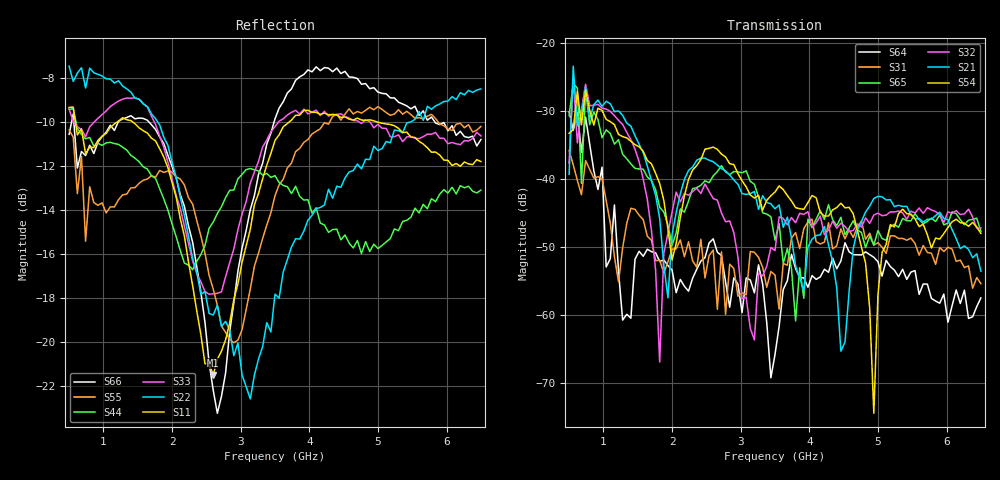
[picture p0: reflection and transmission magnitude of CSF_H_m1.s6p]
!Keysight Technologies,M9804A,MY58100912,A.14.10.03
!Date: Thursday, April 27, 2023 10:28:33
!Correction: S11(C  6-Port  )
!S12(C  6-Port  )
!S13(C  6-Port  )
!S14(C  6-Port  )
!S15(C  6-Port  )
!S16(C  6-Port  )
!S21(C  6-Port  )
!S22(C  6-Port  )
!S23(C  6-Port  )
!S24(C  6-Port  )
!S25(C  6-Port  )
!S26(C  6-Port  )
!S31(C  6-Port  )
!S32(C  6-Port  )
!S33(C  6-Port  )
!S34(C  6-Port  )
!S35(C  6-Port  )
!S36(C  6-Port  )
!S41(C  6-Port  )
!S42(C  6-Port  )
!S43(C  6-Port  )
!S44(C  6-Port  )
!S45(C  6-Port  )
!S46(C  6-Port  )
!S51(C  6-Port  )
!S52(C  6-Port  )
!S53(C  6-Port  )
!S54(C  6-Port  )
!S55(C  6-Port  )
!S56(C  6-Port  )
!S61(C  6-Port  )
!S62(C  6-Port  )
!S63(C  6-Port  )
!S64(C  6-Port  )
!S65(C  6-Port  )
!S66(C  6-Port  )
!S6P File: Measurement: :
# Hz S  RI  R 50
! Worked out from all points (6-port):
!   101 points, 500 MHz to 6.5 GHz, reference 50 ohm
!   strongest paths, dB at 500 MHz, 2 GHz, 3.5 GHz, 5 GHz, 6.5 GHz:
!     S54: -33.3, -51.9, -41.9, -57.1, -48.0
!     S21: -39.3, -48.2, -44.4, -42.6, -53.6
!     S32: -37.7, -44.9, -50.6, -45.0, -47.2
!     S65: -30.7, -49.8, -49.0, -47.6, -47.7
!     S31: -35.8, -50.4, -54.1, -49.4, -55.4
!     S64: -30.1, -53.4, -65.9, -52.2, -57.5
!   lowest |S11| = -21.5 dB at 2.6 GHz (marker M1), VSWR 1.18, Z = 42.5 + j2.11 ohm
!   |S11| at or under -10 dB: 591.3 MHz to 1.207 GHz (615.7 MHz wide, 68.5 % of centre); 1.42 GHz to 3.713 GHz (2.293 GHz wide, 89.3 % of centre); 4.975 GHz to end of sweep
